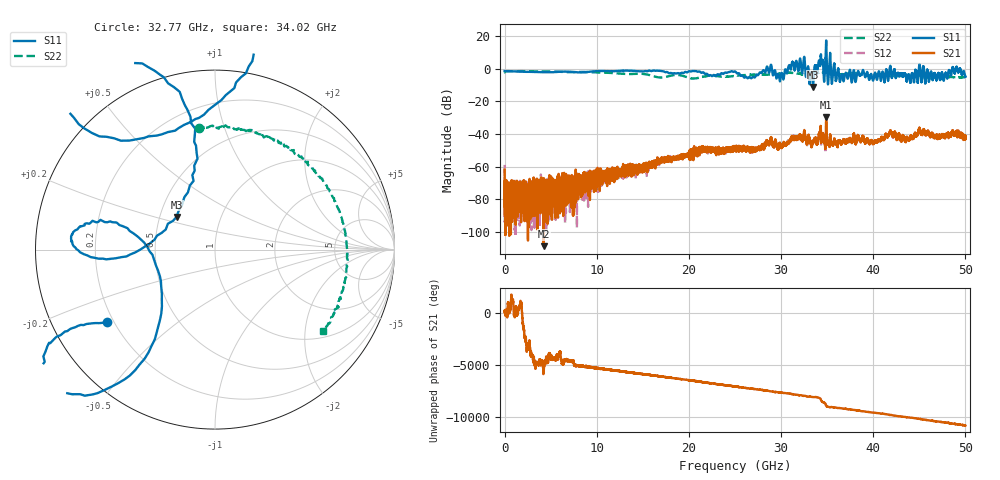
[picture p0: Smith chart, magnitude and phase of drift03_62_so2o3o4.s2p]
!Created with skrf (http://scikit-rf.org).
# Hz S RI R 50.0
!freq ReS11 ImS11 ReS21 ImS21 ReS12 ImS12 ReS22 ImS22
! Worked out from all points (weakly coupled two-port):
!   10001 points, 300 kHz to 50 GHz, reference 50 ohm
!   highest |S21| = -29.57 dB at 34.89 GHz (marker M1); lowest = -108.9 dB at 4.235 GHz (marker M2)
!   lowest |S11| = -11.0 dB at 33.47 GHz (marker M3), VSWR 1.78, Z = 30.6 + j12.1 ohm
!   |S11| at or under -10 dB: 33.44881 GHz to 33.48274 GHz (33.93 MHz wide, 0.101 % of centre)
!   |S22| runs from -5.9 to -1.3 dB; largest |S21 - S12| = 0.0073
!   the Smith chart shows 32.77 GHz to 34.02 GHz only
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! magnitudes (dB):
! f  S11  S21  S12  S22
! 300 kHz  -1.3  -62.0  -59.0  -2.1
! 260.3 MHz  -1.3  -78.4  -76.2  -1.4
! 4.235 GHz  -2.0  -108.9  -75.8  -1.6
! 8.335 GHz  -2.2  -68.1  -75.7  -1.9
! 16.67 GHz  -1.1  -55.1  -57.0  -5.2
! 25 GHz  -1.5  -49.3  -48.9  -4.3
! 26.92 GHz  -4.9  -48.6  -49.9  -3.6
! 28.72 GHz  -2.3  -45.6  -45.2  -3.6
! 30.06 GHz  -2.5  -47.0  -47.7  -2.8
! 31.87 GHz  -1.4  -42.7  -41.8  -2.9
! 33.34 GHz  -2.2  -47.3  -46.9  -2.9
! 33.47 GHz  -11.0  -44.4  -44.7  -2.8
! 34.29 GHz  6.1  -35.7  -36.0  -2.3
! 34.89 GHz  17.3  -29.6  -30.9  -2.4
! 36.58 GHz  -3.5  -45.9  -46.1  -3.6
! 40.15 GHz  -3.0  -44.7  -44.4  -3.7
! 41.67 GHz  -5.4  -41.2  -40.4  -3.7
! 43.84 GHz  -3.9  -43.5  -43.3  -3.8
! 45.19 GHz  -5.8  -39.5  -39.0  -4.4
! 47.06 GHz  -2.7  -42.8  -41.9  -5.1
! 49.21 GHz  -2.1  -39.5  -39.1  -5.2
! 50 GHz  -4.8  -41.5  -42.5  -5.0
